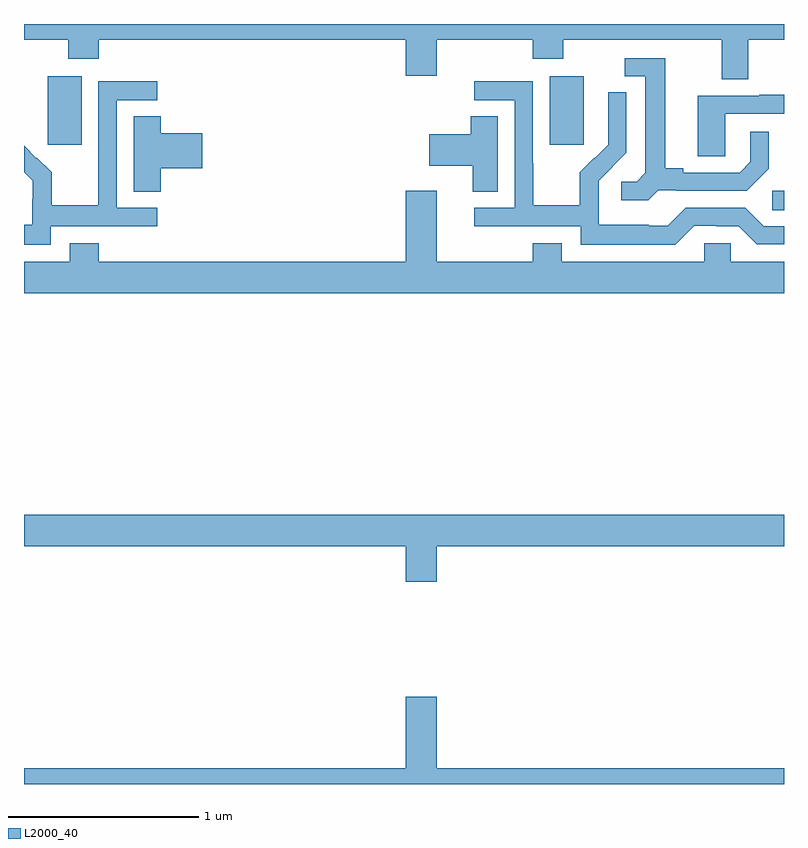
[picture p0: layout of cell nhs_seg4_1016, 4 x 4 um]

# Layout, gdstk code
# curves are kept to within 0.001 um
import gdstk
lib = gdstk.Library(unit=1e-6, precision=1e-09)
def R(c, l, rs):  # rectangles x0, y0, x1, y1
    for r in rs: c.add(gdstk.rectangle(r[:2], r[2:], *l))
def P(c, l, *ps):  # polygons
    for p in ps: c.add(gdstk.Polygon(p, *l))
L2000_40 = (2000, 40)

nhs_seg4_1016 = lib.new_cell('nhs_seg4_1016')
R(nhs_seg4_1016, L2000_40, [(166.938,799.921,167,800.022), (163.124,800.265,163.303,800.626), (165.767,800.265,165.946,800.626)])
P(nhs_seg4_1016, L2000_40, [(166.813,800.816),(167,800.816),(167,800.9),(163,800.9),(163,800.816),(163.234,800.816),(163.234,800.717),(163.394,800.717),(163.394,800.816),(165.008,800.816),(165.008,800.628),(165.172,800.628),(165.172,800.816),(165.677,800.816),(165.677,800.717),(165.837,800.717),(165.837,800.816),(166.673,800.816),(166.673,800.608),(166.813,800.608)],
  [(166.338,800.025),(166.432,800.025),(166.432,800.022),(166.804,800.022),(166.92,800.138),(166.92,800.332),(166.823,800.332),(166.823,800.175),(166.766,800.118),(166.471,800.118),(166.471,800.141),(166.375,800.141),(166.375,800.721),(166.161,800.721),(166.161,800.625),(166.271,800.625),(166.271,800.117),(166.224,800.07),(166.143,800.07),(166.143,799.973),(166.286,799.973)],
  [(163.14,799.836),(163.702,799.836),(163.702,799.932),(163.488,799.932),(163.488,800.499),(163.702,800.499),(163.702,800.598),(163.392,800.598),(163.392,800.168),(163.39,800.168),(163.39,799.945),(163.145,799.945),(163.145,800.119),(163.068,800.196),(163.065,800.193),(163,800.259),(163,800.12),(163.046,800.074),(163.046,799.977),(163.044,799.977),(163.044,799.843),(163,799.843),(163,799.739),(163.14,799.739)],
  [(166.527,799.839),(166.643,799.839),(166.643,799.836),(166.761,799.836),(166.857,799.74),(167,799.74),(167,799.836),(166.893,799.836),(166.797,799.932),(166.482,799.932),(166.389,799.839),(166.289,799.839),(166.289,799.843),(166.026,799.843),(166.026,799.977),(166.024,799.977),(166.024,800.074),(166.17,800.222),(166.17,800.54),(166.074,800.54),(166.074,800.386),(166.076,800.386),(166.076,800.264),(166.005,800.193),(166.002,800.196),(165.925,800.119),(165.925,799.945),(165.681,799.945),(165.681,800.168),(165.678,800.168),(165.678,800.598),(165.369,800.598),(165.369,800.499),(165.582,800.499),(165.582,799.932),(165.369,799.932),(165.369,799.836),(165.93,799.836),(165.93,799.739),(166.427,799.739)],
  [(166.692,800.427),(167,800.427),(167,800.527),(166.871,800.527),(166.871,800.523),(166.547,800.523),(166.547,800.203),(166.692,800.203)],
  [(165.493,800.414),(165.35,800.414),(165.35,800.319),(165.132,800.319),(165.132,800.153),(165.362,800.153),(165.362,800.017),(165.493,800.017)],
  [(163.721,800.141),(163.939,800.141),(163.939,800.324),(163.721,800.324),(163.721,800.414),(163.577,800.414),(163.577,800.017),(163.721,800.017)],
  [(167,799.648),(166.719,799.648),(166.719,799.746),(166.581,799.746),(166.581,799.648),(165.829,799.648),(165.829,799.747),(165.677,799.747),(165.677,799.648),(165.172,799.648),(165.172,800.023),(165.008,800.023),(165.008,799.648),(163.394,799.648),(163.394,799.747),(163.241,799.747),(163.241,799.648),(163,799.648),(163,799.484),(167,799.484)],
  [(165.172,798.152),(167,798.152),(167,798.316),(163,798.316),(163,798.152),(165.008,798.152),(165.008,797.964),(165.172,797.964)],
  [(167,796.984),(165.172,796.984),(165.172,797.359),(165.008,797.359),(165.008,796.984),(163,796.984),(163,796.9),(167,796.9)])

lib.write_gds('nhs_seg4_1016.gds')
